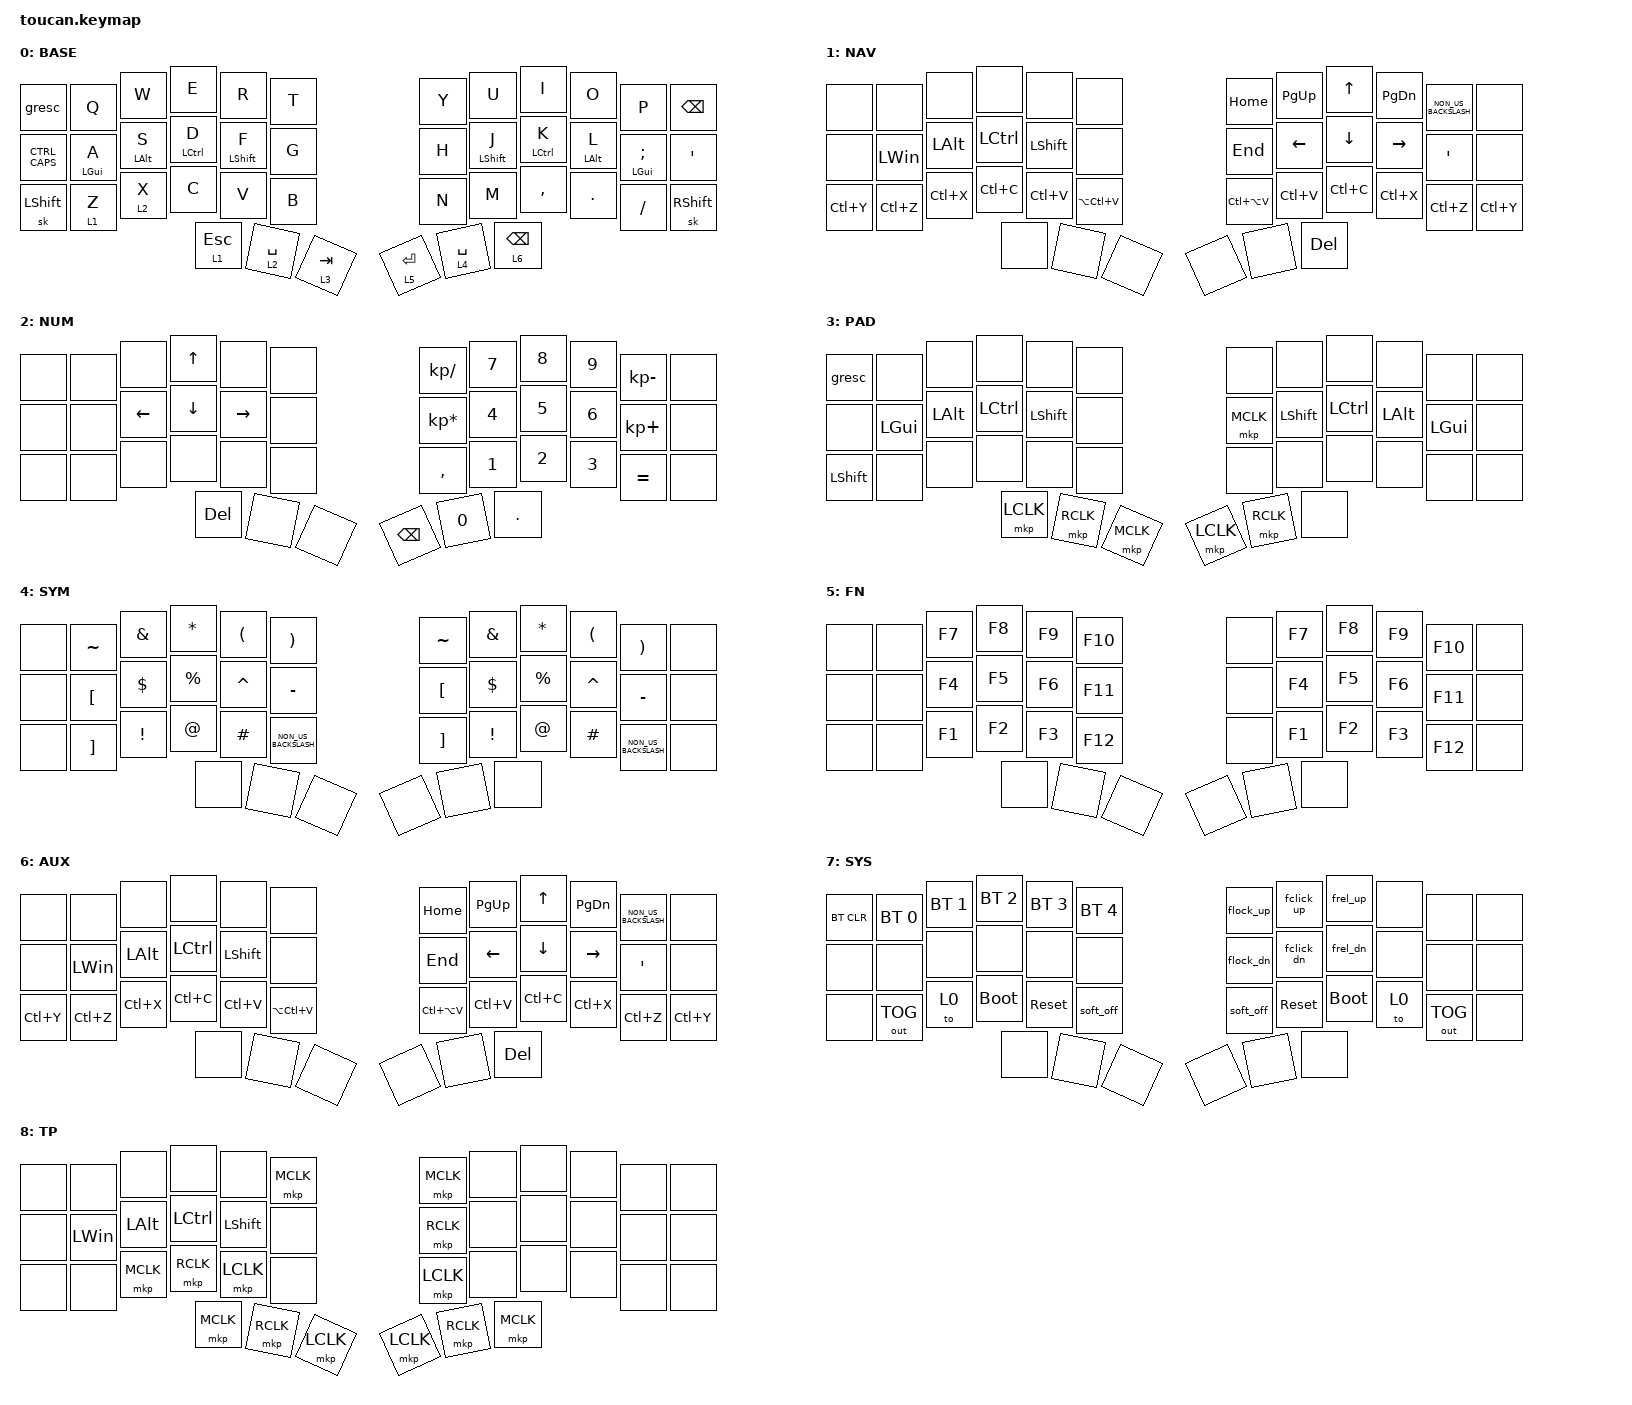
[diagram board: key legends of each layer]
#include <dt-bindings/zmk/force.h>
#include <behaviors.dtsi>
#include <dt-bindings/zmk/bt.h>
#include <dt-bindings/zmk/keys.h>
#include <dt-bindings/zmk/outputs.h>
#include <dt-bindings/zmk/pointing.h>

#define BASE 0
#define NAV  1
#define NUM  2
#define PAD  3
#define SYM  4
#define FN   5
#define AUX  6
#define SYS  7
#define TP   8

&mt {
    quick-tap-ms = <100>;
    global-quick-tap;
    flavor = "tap-preferred";
    tapping-term-ms = <170>;
};

/ {
    combos {
        compatible = "zmk,combos";

        LSYSLD {
            timeout-ms = <50>;
            key-positions = <5 38>;
            bindings = <&tog 7>;
        };

        BT0 {
            bindings = <&bt BT_SEL 0>;
            key-positions = <39 7>;
        };

        BT1 {
            bindings = <&bt BT_SEL 1>;
            key-positions = <39 8>;
        };

        BT2 {
            bindings = <&bt BT_SEL 2>;
            key-positions = <39 9>;
        };

        BT3 {
            bindings = <&bt BT_SEL 3>;
            key-positions = <39 10>;
        };

        BT4 {
            bindings = <&bt BT_SEL 4>;
            key-positions = <39 11>;
        };

        HANGUL {
            bindings = <&kp RIGHT_ALT>;
            key-positions = <30 31>;
        };

        HANJA {
            bindings = <&kp RCTRL>;
            key-positions = <31 32>;
        };

        TASKMGR {
            bindings = <&kp LC(LS(ESCAPE))>;
            key-positions = <0 12 24>;
        };

        COMBO_F2 {
            bindings = <&kp F2>;
            key-positions = <1 2>;
        };

        ALFTF4 {
            bindings = <&kp LA(F4)>;
            key-positions = <2 3>;
        };

        COMBO_F5 {
            bindings = <&kp F5>;
            key-positions = <3 4>;
        };

        COMBO_MINUS {
            bindings = <&kp MINUS>;
            key-positions = <6 18>;
        };

        COMBO_UNDERSOCRE {
            bindings = <&kp UNDER>;
            key-positions = <7 19>;
        };

        COMBO_EQUAL {
            bindings = <&kp EQUAL>;
            key-positions = <8 20>;
        };

        COMBO_PLUS {
            bindings = <&kp PLUS>;
            key-positions = <9 21>;
        };

        COMBO_LPAR {
            bindings = <&kp LEFT_PARENTHESIS>;
            key-positions = <4 16>;
        };

        COMBO_RPAR {
            bindings = <&kp RIGHT_PARENTHESIS>;
            key-positions = <5 17>;
        };

        COMBO_LBKT {
            bindings = <&kp LEFT_BRACKET>;
            key-positions = <2 14>;
        };

        COMBO_RBKT {
            bindings = <&kp RIGHT_BRACKET>;
            key-positions = <3 15>;
        };

        COMBO_FIND {
            bindings = <&kp LC(F)>;
            key-positions = <14 16 15>;
        };

        COMBO_SAVE {
            bindings = <&kp LC(S)>;
            key-positions = <15 14>;
        };

        COMBO_TABCLOSE {
            bindings = <&kp LC(W)>;
            key-positions = <2 15>;
        };

        COMBO_SCREENSHOT {
            bindings = <&kp LG(LS(S))>;
            key-positions = <13 14 16>;
        };

        COMBO_CAPSLOCK {
            bindings = <&kp CAPSLOCK>;
            key-positions = <32 33>;
        };

        BTCLR {
            bindings = <&bt BT_CLR>;
            key-positions = <40 23>;
        };

        FLUENT {
            bindings = <&kp LC(LA(LS(SPACE)))>;
            key-positions = <16 15 14 37>;
        };

        FS_WIN_1 {
            bindings = <&kp LC(LA(LS(B)))>;
            key-positions = <28 29>;
        };

        BT_USB {
            bindings = <&out OUT_TOG>;
            key-positions = <39 6>;
        };

        WINMINIMIZE {
            bindings = <&WINMINIMIZE>;
            key-positions = <26 27>;
        };

        FS_WIN_2 {
            bindings = <&kp LC(LA(LS(B)))>;
            key-positions = <6 7>;
        };

        FS_SC_1. {
            bindings = <&kp LC(LA(LS(T)))>;
            key-positions = <27 28>;
        };

        FS_SC_2 {
            bindings = <&kp LC(LA(LS(T)))>;
            key-positions = <7 8>;
        };
    };

    HRR: HRR {
        compatible = "zmk,behavior-hold-tap";
        label = "HRR";
        bindings = <&kp>, <&kp>;

        #binding-cells = <2>;
        flavor = "tap-preferred";
        tapping-term-ms = <185>;
    };

    HRL: HRL {
        compatible = "zmk,behavior-hold-tap";
        label = "HRL";
        bindings = <&kp>, <&kp>;

        #binding-cells = <2>;
        flavor = "tap-preferred";
        tapping-term-ms = <185>;
    };

    QLT: QLT {
        compatible = "zmk,behavior-hold-tap";
        label = "QLT";
        bindings = <&mo>, <&kp>;

        #binding-cells = <2>;
        tapping-term-ms = <220>;
        quick-tap-ms = <200>;
        flavor = "balanced";
        retro-tap;
        require-prior-idle-ms = <125>;
    };

    CTRL_CAPS: CTRL_CAPS {
        compatible = "zmk,behavior-tap-dance";
        label = "CTRL_CAPS";
        #binding-cells = <0>;
        bindings = <&kp LCTRL>, <&kp CAPSLOCK>;

        tapping-term-ms = <250>;
    };

    MLT: MLT {
        compatible = "zmk,behavior-hold-tap";
        label = "MLT";
        bindings = <&mo>, <&kp>;

        #binding-cells = <2>;
        tapping-term-ms = <185>;
        hold-while-undecided;
    };

    behaviors {
        /* Explicit zero-parameter behaviors are selectable in Keymap Editor.
         * The generic two-parameter force_cfg remains available to ZMK Studio.
         * Keep device names short for split behavior transport. */

        flock_up: flock_up {
            compatible = "zmk,behavior-force-adjust";
            #binding-cells = <0>;
            display-name = "이동 억제 +100";
            command = <FORCE_LOCK_UP>;
            amount = <100>;
        };

        flock_dn: flock_dn {
            compatible = "zmk,behavior-force-adjust";
            #binding-cells = <0>;
            display-name = "이동 억제 -100";
            command = <FORCE_LOCK_DOWN>;
            amount = <100>;
        };

        fclick_up: fclk_up {
            compatible = "zmk,behavior-force-adjust";
            #binding-cells = <0>;
            display-name = "클릭 +100";
            command = <FORCE_CLICK_UP>;
            amount = <100>;
        };

        fclick_dn: fclk_dn {
            compatible = "zmk,behavior-force-adjust";
            #binding-cells = <0>;
            display-name = "클릭 -100";
            command = <FORCE_CLICK_DOWN>;
            amount = <100>;
        };

        frel_up: frel_up {
            compatible = "zmk,behavior-force-adjust";
            #binding-cells = <0>;
            display-name = "해제 +100";
            command = <FORCE_RELEASE_UP>;
            amount = <100>;
        };

        frel_dn: frel_dn {
            compatible = "zmk,behavior-force-adjust";
            #binding-cells = <0>;
            display-name = "해제 -100";
            command = <FORCE_RELEASE_DOWN>;
            amount = <100>;
        };
    };

    macros {
        WINMINIMIZE: WINMINIMIZE {
            compatible = "zmk,behavior-macro";
            #binding-cells = <0>;
            bindings = <&kp LA(SPACE) &kp N>;
            label = "WINMINIMIZE";
        };
    };

    keymap {
        compatible = "zmk,keymap";

        BASE {
            display-name = "BASE";
            bindings = <
&gresc      &kp Q            &kp W            &kp E         &kp R              &kp T      &kp Y        &kp U              &kp I         &kp O            &kp P               &kp BSPC
&CTRL_CAPS  &HRL LEFT_GUI A  &HRL LEFT_ALT S  &HRL LCTRL D  &HRL LEFT_SHIFT F  &kp G      &kp H        &HRR LEFT_SHIFT J  &HRR LCTRL K  &HRR LEFT_ALT L  &HRR LEFT_GUI SEMI  &kp SQT
&sk LSHFT   &QLT 1 Z         &QLT 2 X         &kp C         &kp V              &kp B      &kp N        &kp M              &kp COMMA     &kp DOT          &kp FSLH            &sk RSHFT
                                              &lt 1 ESCAPE  &lt 2 SPACE        &lt 3 TAB  &lt 5 ENTER  &QLT 4 SPACE       &QLT 6 BSPC
            >;
        };

        NAV {
            display-name = "NAV";
            bindings = <
&none      &none         &none         &none      &none           &none          &kp HOME       &kp PAGE_UP  &kp UP      &kp PAGE_DOWN  &kp NON_US_BACKSLASH  &none
&none      &kp LEFT_WIN  &kp LEFT_ALT  &kp LCTRL  &kp LEFT_SHIFT  &none          &kp END        &kp LEFT     &kp DOWN    &kp RIGHT      &kp APOSTROPHE        &none
&kp LC(Y)  &kp LC(Z)     &kp LC(X)     &kp LC(C)  &kp LC(V)       &kp LA(LC(V))  &kp LC(LA(V))  &kp LC(V)    &kp LC(C)   &kp LC(X)      &kp LC(Z)             &kp LC(Y)
                                       &none      &none           &none          &none          &none        &kp DELETE
            >;
        };

        NUM {
            display-name = "NUM";
            bindings = <
&none  &none  &none     &kp UP      &none      &none  &kp KP_DIVIDE    &kp N7        &kp N8        &kp N9        &kp KP_MINUS  &none
&none  &none  &kp LEFT  &kp DOWN    &kp RIGHT  &none  &kp KP_ASTERISK  &kp NUMBER_4  &kp N5        &kp NUMBER_6  &kp KP_PLUS   &none
&none  &none  &none     &none       &none      &none  &kp COMMA        &kp NUMBER_1  &kp NUMBER_2  &kp NUMBER_3  &kp EQUAL     &none
                        &kp DELETE  &none      &none  &kp BACKSPACE    &kp NUMBER_0  &kp DOT
            >;
        };

        PAD {
            display-name = "PAD";
            bindings = <
&gresc     &none         &none         &none      &none           &none      &none      &none           &none      &none         &none         &none
&none      &kp LEFT_GUI  &kp LEFT_ALT  &kp LCTRL  &kp LEFT_SHIFT  &none      &mkp MCLK  &kp LEFT_SHIFT  &kp LCTRL  &kp LEFT_ALT  &kp LEFT_GUI  &none
&kp LSHFT  &none         &none         &none      &none           &none      &none      &none           &none      &none         &none         &none
                                       &mkp LCLK  &mkp RCLK       &mkp MCLK  &mkp LCLK  &mkp RCLK       &none
            >;
        };

        SYM {
            display-name = "SYM";
            bindings = <
&none  &kp TILDE          &kp AMPERSAND    &kp ASTERISK  &kp LEFT_PARENTHESIS  &kp RIGHT_PARENTHESIS  &kp TILDE          &kp AMPERSAND    &kp ASTERISK  &kp LEFT_PARENTHESIS  &kp RIGHT_PARENTHESIS  &none
&none  &kp LEFT_BRACKET   &kp DOLLAR       &kp PERCENT   &kp CARET             &kp MINUS              &kp LEFT_BRACKET   &kp DOLLAR       &kp PERCENT   &kp CARET             &kp MINUS              &none
&none  &kp RIGHT_BRACKET  &kp EXCLAMATION  &kp AT_SIGN   &kp HASH              &kp NON_US_BACKSLASH   &kp RIGHT_BRACKET  &kp EXCLAMATION  &kp AT_SIGN   &kp HASH              &kp NON_US_BACKSLASH   &none
                                           &none         &none                 &none                  &none              &none            &none
            >;
        };

        FN {
            display-name = "FN";
            bindings = <
&none  &none  &kp F7  &kp F8  &kp F9  &kp F10  &none  &kp F7  &kp F8  &kp F9  &kp F10  &none
&none  &none  &kp F4  &kp F5  &kp F6  &kp F11  &none  &kp F4  &kp F5  &kp F6  &kp F11  &none
&none  &none  &kp F1  &kp F2  &kp F3  &kp F12  &none  &kp F1  &kp F2  &kp F3  &kp F12  &none
                      &none   &none   &none    &none  &none   &none
            >;
        };

        AUX {
            display-name = "AUX";
            bindings = <
&none      &none         &none         &none      &none           &none          &kp HOME       &kp PAGE_UP  &kp UP      &kp PAGE_DOWN  &kp NON_US_BACKSLASH  &none
&none      &kp LEFT_WIN  &kp LEFT_ALT  &kp LCTRL  &kp LEFT_SHIFT  &none          &kp END        &kp LEFT     &kp DOWN    &kp RIGHT      &kp APOSTROPHE        &none
&kp LC(Y)  &kp LC(Z)     &kp LC(X)     &kp LC(C)  &kp LC(V)       &kp LA(LC(V))  &kp LC(LA(V))  &kp LC(V)    &kp LC(C)   &kp LC(X)      &kp LC(Z)             &kp LC(Y)
                                       &none      &none           &none          &none          &none        &kp DELETE
            >;
        };

        SYS {
            display-name = "SYS";
            bindings = <
&bt BT_CLR  &bt BT_SEL 0  &bt BT_SEL 1  &bt BT_SEL 2  &bt BT_SEL 3  &bt BT_SEL 4  &flock_up  &fclick_up  &frel_up     &none  &none         &none
&none       &none         &none         &none         &none         &none         &flock_dn  &fclick_dn  &frel_dn     &none  &none         &none
&none       &out OUT_TOG  &to 0         &bootloader   &sys_reset    &soft_off     &soft_off  &sys_reset  &bootloader  &to 0  &out OUT_TOG  &none
                                        &none         &none         &none         &none      &none       &none
            >;
        };

        TP {
            display-name = "TP";
            bindings = <
&none  &none         &none         &none      &none           &mkp MCLK  &mkp MCLK  &none      &none      &none  &none  &none
&none  &kp LEFT_WIN  &kp LEFT_ALT  &kp LCTRL  &kp LEFT_SHIFT  &none      &mkp RCLK  &none      &none      &none  &none  &none
&none  &none         &mkp MCLK     &mkp RCLK  &mkp LCLK       &none      &mkp LCLK  &none      &none      &none  &none  &none
                                   &mkp MCLK  &mkp RCLK       &mkp LCLK  &mkp LCLK  &mkp RCLK  &mkp MCLK
            >;
        };
    };
};
